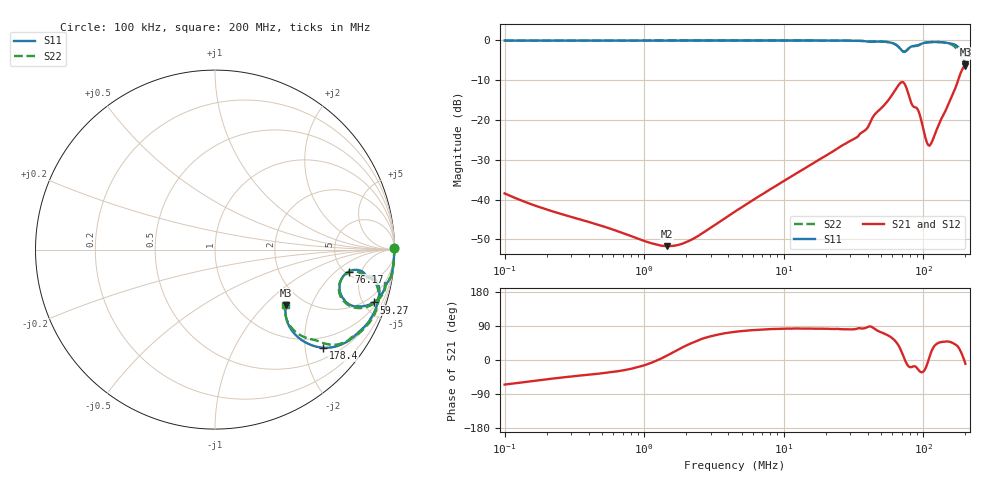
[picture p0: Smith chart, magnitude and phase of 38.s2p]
#  HZ  S  RI  R  50.00
! Rohde & Schwarz Vector Network Analyzer
! Rohde-Schwarz,ZNLE6-2Port,1323001256200024,1.71.1.10-23.02.1.238
! Created: UTC 4/7/2025, 4:12:29 AM
! freq[Hz]  re:S11  im:S11  re:S21  im:S21  re:S12  im:S12  re:S22  im:S22
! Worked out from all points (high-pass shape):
!   1001 points, 100 kHz to 200 MHz, reference 50 ohm
!   highest |S21| = -6.31 dB at 200 MHz (marker M1); lowest = -51.7 dB at 1.463 MHz (marker M2)
!   |S21| within 3 dB of the highest: 180 MHz to end of sweep
!   lowest |S11| = -6.0 dB at 200 MHz (marker M3), VSWR 3.01, Z = 81 - j66.9 ohm
!   |S11| at or under -10 dB: nowhere
!   |S22| runs from -6.1 to 0.0 dB; largest |S21 - S12| = 0.012
!   S11 on the Smith chart (normalised r, x): 100 kHz: open; 59.27 MHz: 1.32, -5.88; 76.17 MHz: 5.37, -3.05; 178.4 MHz: 0.74, -2.40; 200 MHz: 1.62, -1.34
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100000  0.995 0.0106  0.0051 -0.0108  0.00511 -0.0109  0.9951 0.0106
355854.1  0.9957 0.00269  0.00422 -0.00363  0.00423 -0.00364  0.996 0.00269
1266322  0.9973 -0.00324  0.00268 2.75e-05  0.0027 3.03e-05  0.9974 -0.00339
1463065  0.9974 -0.00425  0.00255 0.00054  0.00255 0.000542  0.9975 -0.00443
2172287  0.9977 -0.00769  0.00224 0.00218  0.00224 0.00219  0.9977 -0.00783
4472136  0.9979 -0.0188  0.00191 0.00682  0.00198 0.00678  0.9986 -0.0177
1.591428e7  0.9952 -0.0688  0.0035 0.0278  0.00374 0.0277  0.9955 -0.0701
3.814218e7  0.9616 -0.1819  0.00766 0.0736  0.00786 0.0733  0.9658 -0.1813
5.663162e7  0.9066 -0.2765  0.0804 0.1625  0.084 0.1597  0.9044 -0.2849
5.927413e7  0.8837 -0.2944  0.1053 0.1737  0.1065 0.1723  0.8797 -0.304
6.493481e7  0.8005 -0.3164  0.1887 0.1792  0.1901 0.1773  0.7954 -0.3256
6.953234e7  0.7111 -0.2684  0.2738 0.1174  0.2763 0.1104  0.7074 -0.2753
7.617267e7  0.7448 -0.1223  0.24 -0.0449  0.2391 -0.0511  0.741 -0.13
8.281529e7  0.8328 -0.133  0.1488 -0.049  0.1478 -0.0534  0.8264 -0.1448
9.211385e7  0.8615 -0.1478  0.1173 -0.0573  0.1163 -0.0607  0.8534 -0.1568
1.048196e8  0.9149 -0.2192  0.0527 -0.0169  0.0525 -0.0181  0.9106 -0.2327
1.105477e8  0.9144 -0.2558  0.0472 0.00673  0.0475 0.00578  0.9113 -0.2716
1.4424e8  0.8342 -0.4279  0.0864 0.0989  0.0872 0.0964  0.8162 -0.4542
1.628929e8  0.748 -0.5053  0.153 0.1501  0.1559 0.1437  0.6918 -0.5265
1.784492e8  0.6032 -0.5468  0.2739 0.1791  0.2777 0.1697  0.5551 -0.5036
1.867759e8  0.4992 -0.5144  0.3821 0.1353  0.3851 0.1242  0.4792 -0.4787
2e8  0.3947 -0.3092  0.4763 -0.084  0.4761 -0.0945  0.3901 -0.3071
